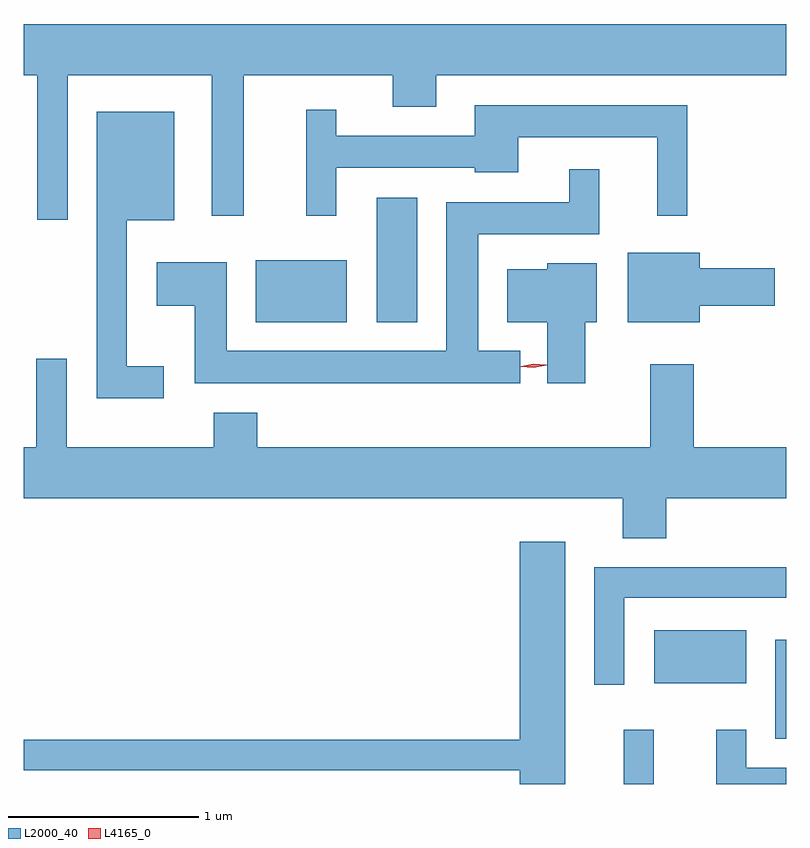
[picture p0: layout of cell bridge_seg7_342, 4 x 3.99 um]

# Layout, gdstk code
import gdstk
lib = gdstk.Library(unit=1e-6, precision=1e-09)
def R(c, l, rs):  # rectangles x0, y0, x1, y1
    for r in rs: c.add(gdstk.rectangle(r[:2], r[2:], *l))
def P(c, l, *ps):  # polygons
    for p in ps: c.add(gdstk.Polygon(p, *l))
L2000_40 = (2000, 40)
L4165_0 = (4165, 0)

bridge_seg7_342 = lib.new_cell('bridge_seg7_342')
R(bridge_seg7_342, L2000_40, [(1226.681,1772.758,1226.839,1773.043), (1227.476,1772.996,1227.534,1773.514), (1226.841,1773.286,1227.324,1773.564), (1224.751,1775.181,1225.229,1775.504), (1225.386,1775.181,1225.599,1775.834)])
P(bridge_seg7_342, L2000_40, [(1223.534,1776.476),(1223.606,1776.476),(1223.606,1775.718),(1223.764,1775.718),(1223.764,1776.476),(1224.521,1776.476),(1224.521,1775.738),(1224.689,1775.738),(1224.689,1776.476),(1225.471,1776.476),(1225.471,1776.311),(1225.699,1776.311),(1225.699,1776.476),(1227.534,1776.476),(1227.534,1776.744),(1223.534,1776.744)],
  [(1225.174,1775.991),(1225.901,1775.991),(1225.901,1775.966),(1226.129,1775.966),(1226.129,1776.151),(1226.856,1776.151),(1226.856,1775.738),(1227.014,1775.738),(1227.014,1776.319),(1225.901,1776.319),(1225.901,1776.159),(1225.174,1776.159),(1225.174,1776.293),(1225.016,1776.293),(1225.016,1775.738),(1225.174,1775.738)],
  [(1224.268,1774.949),(1224.074,1774.949),(1224.074,1775.716),(1224.324,1775.716),(1224.324,1776.284),(1223.916,1776.284),(1223.916,1774.781),(1224.268,1774.781)],
  [(1226.138,1775.029),(1225.919,1775.029),(1225.919,1775.641),(1226.554,1775.641),(1226.554,1775.983),(1226.396,1775.983),(1226.396,1775.809),(1225.751,1775.809),(1225.751,1775.029),(1224.599,1775.029),(1224.599,1775.494),(1224.231,1775.494),(1224.231,1775.266),(1224.431,1775.266),(1224.431,1774.861),(1226.138,1774.861)],
  [(1227.079,1775.266),(1227.474,1775.266),(1227.474,1775.464),(1227.079,1775.464),(1227.079,1775.544),(1226.701,1775.544),(1226.701,1775.181),(1227.079,1775.181)],
  [(1226.479,1775.181),(1226.539,1775.181),(1226.539,1775.489),(1226.281,1775.489),(1226.281,1775.459),(1226.071,1775.459),(1226.071,1775.181),(1226.281,1775.181),(1226.281,1774.861),(1226.479,1774.861)],
  [(1226.904,1774.256),(1227.534,1774.256),(1227.534,1774.524),(1227.049,1774.524),(1227.049,1774.959),(1226.821,1774.959),(1226.821,1774.524),(1224.759,1774.524),(1224.759,1774.704),(1224.531,1774.704),(1224.531,1774.524),(1223.759,1774.524),(1223.759,1774.988),(1223.601,1774.988),(1223.601,1774.524),(1223.534,1774.524),(1223.534,1774.256),(1226.676,1774.256),(1226.676,1774.046),(1226.904,1774.046)],
  [(1226.374,1774.029),(1226.136,1774.029),(1226.136,1772.989),(1223.534,1772.989),(1223.534,1772.831),(1226.136,1772.831),(1226.136,1772.758),(1226.374,1772.758)],
  [(1226.684,1773.736),(1227.534,1773.736),(1227.534,1773.894),(1226.526,1773.894),(1226.526,1773.278),(1226.684,1773.278)],
  [(1227.534,1772.844),(1227.324,1772.844),(1227.324,1773.043),(1227.166,1773.043),(1227.166,1772.758),(1227.534,1772.758)])
P(bridge_seg7_342, L4165_0, [(1226.209,1774.941),(1226.14,1774.946),(1226.139,1774.947),(1226.14,1774.947),(1226.208,1774.961),(1226.278,1774.955),(1226.278,1774.955),(1226.278,1774.954)],
  [(1226.209,1774.944),(1226.143,1774.949),(1226.142,1774.95),(1226.143,1774.95),(1226.208,1774.963),(1226.275,1774.958),(1226.275,1774.957),(1226.275,1774.957)])

lib.write_gds('bridge_seg7_342.gds')
